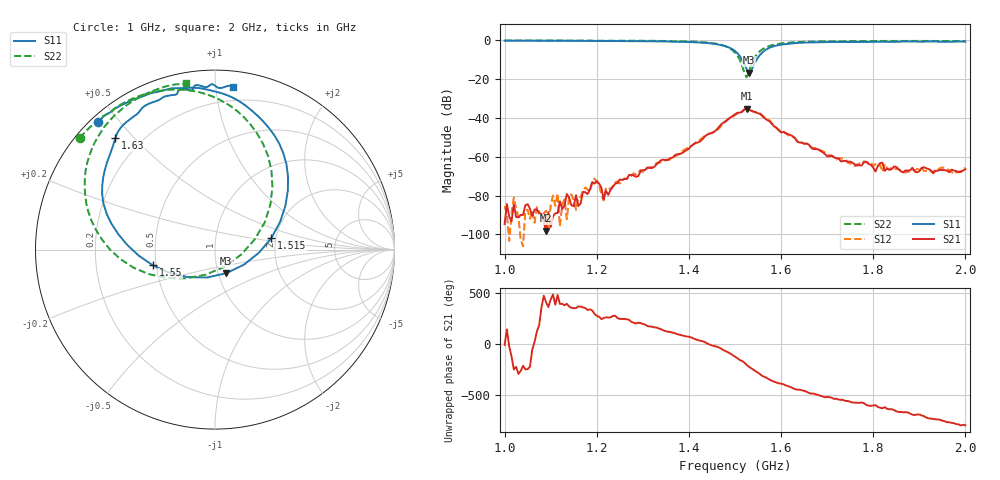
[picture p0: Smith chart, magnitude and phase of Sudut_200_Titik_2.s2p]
# Hz S RI R 50
! CMT, C1220, 16058040, 17.2.0/1
! Date: 14/08/2018 12:47:54
! Data: Format (Calibration Info)
! Freq  S11: Re/Im (F2)  S21: Re/Im (F2)  S12: Re/Im (F2)  S22: Re/Im (F2)
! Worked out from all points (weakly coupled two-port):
!   201 points, 1 GHz to 2 GHz, reference 50 ohm
!   highest |S21| = -35.30 dB at 1.525 GHz (marker M1); lowest = -98.1 dB at 1.09 GHz (marker M2)
!   lowest |S11| = -16.7 dB at 1.53 GHz (marker M3), VSWR 1.34, Z = 54.5 - j14.7 ohm
!   |S11| at or under -10 dB: 1.515 GHz to 1.547 GHz (32.06 MHz wide, 2.09 % of centre)
!   |S22| runs from -19.2 to -0.2 dB; largest |S21 - S12| = 0.00072
!   S11 on the Smith chart (normalised r, x): 1 GHz: 0.02, +0.44; 1.515 GHz: 1.89, +0.27; 1.55 GHz: 0.48, -0.10; 1.63 GHz: 0.11, +0.44; 2 GHz: 0.10, +1.11
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1e9  -0.6519 0.7133  1.81e-05 -3.28e-06  -1.75e-05 5.04e-05  -0.7537 0.6216
1.09e9  -0.5643 0.7798  8.36e-06 9.17e-06  2.22e-05 3.38e-05  -0.6895 0.6881
1.17e9  -0.4817 0.8242  0.000125 -3.06e-06  0.000132 2.81e-06  -0.6182 0.7466
1.2e9  -0.4397 0.8408  1.83e-05 -0.000238  -6.55e-07 -0.000222  -0.585 0.76
1.215e9  -0.4242 0.8456  -2.28e-05 -7.58e-05  -8e-06 -7.43e-05  -0.578 0.7686
1.225e9  -0.4091 0.8512  -2.25e-05 -0.000101  -2.35e-05 -0.000157  -0.5687 0.7788
1.25e9  -0.3639 0.8694  -0.000111 -0.000235  -9.11e-05 -0.000183  -0.5387 0.7999
1.335e9  -0.2194 0.8988  -0.000628 0.000362  -0.000574 0.000385  -0.4041 0.8614
1.45e9  0.1821 0.7932  0.00391 -0.00106  0.0039 -0.00139  0.0193 0.8379
1.5e9  0.4061 0.3302  -0.00679 -0.0103  -0.00641 -0.00975  0.3199 0.3514
1.515e9  0.3138 0.0639  -0.0138 -0.00333  -0.0139 -0.00366  0.2213 0.0569
1.525e9  0.1601 -0.0845  -0.0157 0.00705  -0.0158 0.00705  0.0525 -0.0961
1.53e9  0.062 -0.1318  -0.0116 0.0106  -0.0116 0.0106  -0.0547 -0.1405
1.55e9  -0.3464 -0.0876  0.00264 0.0128  0.00214 0.0128  -0.456 -0.0996
1.58e9  -0.6208 0.2543  0.00694 -0.000142  0.00722 -0.000435  -0.7056 0.2115
1.63e9  -0.5551 0.6217  0.000395 -0.003  0.000537 -0.00294  -0.6944 0.5388
1.67e9  -0.4468 0.7456  -0.000906 -0.00129  -0.000957 -0.00135  -0.6276 0.6675
1.76e9  -0.2667 0.8564  -0.000512 0.000361  -0.000504 0.000283  -0.4864 0.8079
1.805e9  -0.2015 0.8877  -0.000215 0.000355  -0.000107 0.000637  -0.4222 0.849
1.82e9  -0.1716 0.8934  4.96e-06 0.000699  -3.74e-05 0.000408  -0.4015 0.8593
1.835e9  -0.136 0.8872  7.71e-05 0.000453  0.000132 0.000449  -0.3814 0.8694
2e9  0.1014 0.9063  0.000107 -0.000464  0.000123 -0.000495  -0.1595 0.9299
